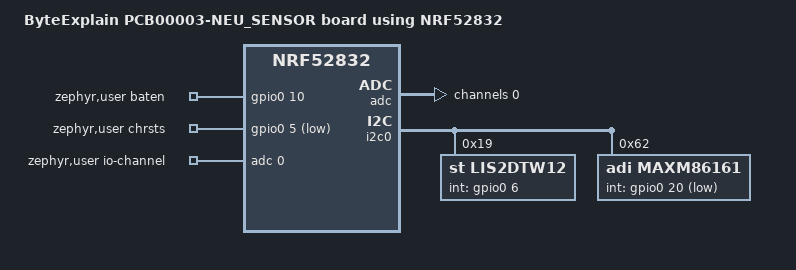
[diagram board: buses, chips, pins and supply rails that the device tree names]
/*
 * Copyright (c) 2017 Shawn Nock <shawn@monadnock.ca>
 * Copyright (c) 2017 Linaro Limited
 *
 * SPDX-License-Identifier: Apache-2.0
 */

/dts-v1/;
#include <nordic/nrf52832_qfaa.dtsi>
#include "pcb00003-pinctrl.dtsi"
#include <zephyr/dt-bindings/input/input-event-codes.h>
#include <zephyr/dt-bindings/gpio/nordic-nrf-gpio.h>

/ {
	model = "ByteExplain PCB00003-NEU_SENSOR board using NRF52832";
	compatible = "byteexplain,pcb00003";

	chosen {
		zephyr,sram = &sram0;
		zephyr,flash = &flash0;
		zephyr,code-partition = &slot0_partition;
	};

	/* These aliases are provided for compatibility with samples */
	aliases {
		watchdog0 = &wdt0;
	};

	zephyr,user {
		baten-gpios = <&gpio0 10 GPIO_ACTIVE_HIGH>;
		chrsts-gpios = <&gpio0 5 (GPIO_ACTIVE_LOW | GPIO_PULL_UP)>;
		io-channels = <&adc 0>;
	};
};

&adc {
	status = "okay";
	#address-cells = <1>;
	#size-cells = <0>;

	channel@0 {
		reg = <0>;
		zephyr,gain = "ADC_GAIN_1";
		zephyr,reference = "ADC_REF_INTERNAL";
		zephyr,acquisition-time = <ADC_ACQ_TIME_DEFAULT>;
		zephyr,input-positive = <NRF_SAADC_AIN4>;
		zephyr,resolution = <12>;
	};
};

&uicr {
	gpio-as-nreset;
};

&gpiote {
	status = "okay";
};

&gpio0 {
	status = "okay";
};

&i2c0 {
	compatible = "nordic,nrf-twi";
	status = "okay";
	pinctrl-0 = <&i2c0_default>;
	pinctrl-1 = <&i2c0_sleep>;
	pinctrl-names = "default", "sleep";
	lis2dtw12: lis2dtw12@19 {
		compatible = "st,lis2dtw12";
		status = "okay";
		reg = <0x19>;
		int-gpios = <&gpio0 6 (GPIO_ACTIVE_HIGH)>;
	};
	maxm86161: maxm86161@62 {
		compatible = "adi,maxm86161";
		status = "okay";
		reg = <0x62>;
		int-gpios = <&gpio0 20 (GPIO_ACTIVE_LOW|GPIO_PULL_UP)>;
	};
};

&flash0 {

	partitions {
		compatible = "fixed-partitions";
		#address-cells = <1>;
		#size-cells = <1>;

		boot_partition: partition@0 {
			label = "mcuboot";
			reg = <0x00000000 0xc000>;
		};
		slot0_partition: partition@c000 {
			label = "image-0";
			reg = <0x0000C000 0x37000>;
		};
		slot1_partition: partition@43000 {
			label = "image-1";
			reg = <0x00043000 0x37000>;
		};
		storage_partition: partition@7a000 {
			label = "storage";
			reg = <0x0007a000 0x00006000>;
		};
	};
};
